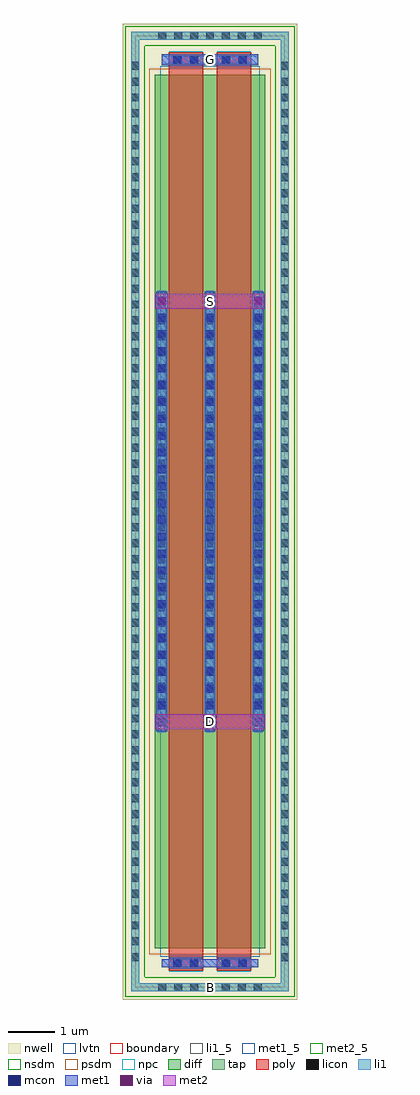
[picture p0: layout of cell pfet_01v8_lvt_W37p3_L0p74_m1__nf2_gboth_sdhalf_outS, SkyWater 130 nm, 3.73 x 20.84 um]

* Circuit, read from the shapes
.subckt pfet_01v8_lvt_W37p3_L0p74_m1__nf2_gboth_sdhalf_outS B D G S
XM1 D G S B sky130_fd_pr__pfet_01v8_lvt w=18.65 l=0.74 m=2
.ends

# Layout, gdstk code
import gdstk
lib = gdstk.Library(unit=1e-6, precision=1e-09)
def R(c, l, rs):  # rectangles x0, y0, x1, y1
    for r in rs: c.add(gdstk.rectangle(r[:2], r[2:], *l))
def A(c, l, x, y, w, h, nx, ny, dx, dy):  # array of equal rectangles
    R(c, l, [(x+i*dx, y+j*dy, x+i*dx+w, y+j*dy+h) for i in range(nx) for j in range(ny)])
nwell = (64, 20)
diff = (65, 20)
tap = (65, 44)
poly = (66, 20)
licon = (66, 44)
li1_5 = (67, 5)
li1 = (67, 20)
mcon = (67, 44)
met1_5 = (68, 5)
met1 = (68, 20)
via = (68, 44)
met2_5 = (69, 5)
met2 = (69, 20)
nsdm = (93, 44)
psdm = (94, 20)
npc = (95, 20)
lvtn = (125, 44)
boundary = (235, 4)

sky130_fd_pr__pfet_01v8_ = lib.new_cell('sky130_fd_pr__pfet_01v8_lvt_QFL8P6')
R(sky130_fd_pr__pfet_01v8_, nwell, [(-1.865,-10.42,1.865,10.42)])
R(sky130_fd_pr__pfet_01v8_, diff, [(-1.175,-9.325,1.175,9.325)])
R(sky130_fd_pr__pfet_01v8_, tap, [(-1.685,-10.24,1.685,-10.07), (-1.685,-10.07,-1.515,10.07), (1.515,-10.07,1.685,10.07), (-1.685,10.07,1.685,10.24)])
R(sky130_fd_pr__pfet_01v8_, poly, [(-0.885,-9.81,-0.145,9.81), (0.145,-9.81,0.885,9.81)])
A(sky130_fd_pr__pfet_01v8_, licon, -1.105, -10.24, 0.17, 0.17, 7, 2, 0.34, 20.31)
A(sky130_fd_pr__pfet_01v8_, licon, -1.685, -9.605, 0.17, 0.17, 1, 57, 0, 0.34)
A(sky130_fd_pr__pfet_01v8_, licon, 1.515, -9.605, 0.17, 0.17, 1, 57, 0, 0.34)
A(sky130_fd_pr__pfet_01v8_, licon, -1.115, -4.505, 0.17, 0.17, 3, 27, 1.03, 0.34)
R(sky130_fd_pr__pfet_01v8_, licon, [(-0.77,-9.73,-0.6,-9.56), (-0.43,-9.73,-0.26,-9.56), (0.26,-9.73,0.43,-9.56), (0.6,-9.73,0.77,-9.56), (-0.77,9.56,-0.6,9.73), (-0.43,9.56,-0.26,9.73), (0.26,9.56,0.43,9.73), (0.6,9.56,0.77,9.73)])
A(sky130_fd_pr__pfet_01v8_, li1, -1.115, -4.715, 0.17, 9.43, 3, 1, 1.03, 0)
R(sky130_fd_pr__pfet_01v8_, li1, [(-1.685,-10.24,1.685,-10.07), (-1.685,-10.07,-1.515,10.07), (1.515,-10.07,1.685,10.07), (-1.03,-9.73,1.03,-9.56), (-1.03,9.56,1.03,9.73), (-1.685,10.07,1.685,10.24)])
A(sky130_fd_pr__pfet_01v8_, mcon, -1.115, -4.585, 0.17, 0.17, 3, 26, 1.03, 0.36)
R(sky130_fd_pr__pfet_01v8_, mcon, [(-0.78,-9.73,-0.61,-9.56), (-0.42,-9.73,-0.25,-9.56), (0.25,-9.73,0.42,-9.56), (0.61,-9.73,0.78,-9.56), (-0.78,9.56,-0.61,9.73), (-0.42,9.56,-0.25,9.73), (0.25,9.56,0.42,9.73), (0.61,9.56,0.78,9.73)])
A(sky130_fd_pr__pfet_01v8_, met1, -1.145, -4.695, 0.23, 9.39, 3, 1, 1.03, 0)
R(sky130_fd_pr__pfet_01v8_, met1, [(-0.865,-9.76,-0.165,-9.73), (0.165,-9.76,0.865,-9.73), (-1.03,-9.73,1.03,-9.56), (-0.865,-9.56,-0.165,-9.53), (0.165,-9.56,0.865,-9.53), (-0.865,9.53,-0.165,9.56), (0.165,9.53,0.865,9.56), (-1.03,9.56,1.03,9.73), (-0.865,9.73,-0.165,9.76), (0.165,9.73,0.865,9.76)])
R(sky130_fd_pr__pfet_01v8_, nsdm, [(-1.81,-10.365,1.81,-9.945), (-1.81,-9.945,-1.39,9.945), (1.39,-9.945,1.81,9.945), (-1.81,9.945,1.81,10.365)])
R(sky130_fd_pr__pfet_01v8_, psdm, [(-1.3,-9.45,1.3,9.45)])
R(sky130_fd_pr__pfet_01v8_, npc, [(-0.87,-9.83,-0.16,-9.46), (0.16,-9.83,0.87,-9.46), (-0.87,9.46,-0.16,9.83), (0.16,9.46,0.87,9.83)])
R(sky130_fd_pr__pfet_01v8_, lvtn, [(-1.065,-9.505,1.065,9.505)])
R(sky130_fd_pr__pfet_01v8_, boundary, [(-1.6,-10.155,1.6,10.155)])
sky130_fd_pr__pfet_01v8_.add(gdstk.Label('B', (0,-10.155), layer=67, texttype=5))
sky130_fd_pr__pfet_01v8_.add(gdstk.Label('D0', (-1.03,0), layer=67, texttype=5))
sky130_fd_pr__pfet_01v8_.add(gdstk.Label('G', (0.515,9.645), layer=67, texttype=5))
sky130_fd_pr__pfet_01v8_.add(gdstk.Label('G', (-0.515,9.645), layer=67, texttype=5))
sky130_fd_pr__pfet_01v8_.add(gdstk.Label('S1', (0,0), layer=67, texttype=5))

pfet_01v8_lvt_w37p3_l0p7 = lib.new_cell('pfet_01v8_lvt_W37p3_L0p74_m1__nf2_gboth_sdhalf_outS')
R(pfet_01v8_lvt_w37p3_l0p7, li1_5, [(1.515,-0.085,1.685,0.085)])
R(pfet_01v8_lvt_w37p3_l0p7, li1, [(1.515,-0.085,1.685,0.085)])
R(pfet_01v8_lvt_w37p3_l0p7, met1_5, [(0.57,19.685,2.63,19.915)])
R(pfet_01v8_lvt_w37p3_l0p7, met1, [(1.47,5.51,1.73,5.83), (0.44,14.48,0.7,14.8), (2.5,14.48,2.76,14.8), (0.57,19.685,2.63,19.915)])
R(pfet_01v8_lvt_w37p3_l0p7, via, [(1.525,5.595,1.675,5.745), (0.495,14.565,0.645,14.715), (2.555,14.565,2.705,14.715)])
R(pfet_01v8_lvt_w37p3_l0p7, met2_5, [(0.435,5.51,2.765,5.83), (0.435,14.48,2.765,14.8)])
R(pfet_01v8_lvt_w37p3_l0p7, met2, [(0.435,5.51,2.765,5.83), (0.435,14.48,2.765,14.8)])
pfet_01v8_lvt_w37p3_l0p7.add(gdstk.Reference(sky130_fd_pr__pfet_01v8_, (1.6,10.155)))
pfet_01v8_lvt_w37p3_l0p7.add(gdstk.Label('S', (1.6,14.64), layer=69, texttype=5))
pfet_01v8_lvt_w37p3_l0p7.add(gdstk.Label('D', (1.6,5.67), layer=69, texttype=5))
pfet_01v8_lvt_w37p3_l0p7.add(gdstk.Label('G', (1.6,19.8), layer=68, texttype=5))
pfet_01v8_lvt_w37p3_l0p7.add(gdstk.Label('B', (1.6,0), layer=67, texttype=5))

lib.write_gds('pfet_01v8_lvt_W37p3_L0p74_m1__nf2_gboth_sdhalf_outS.gds')
